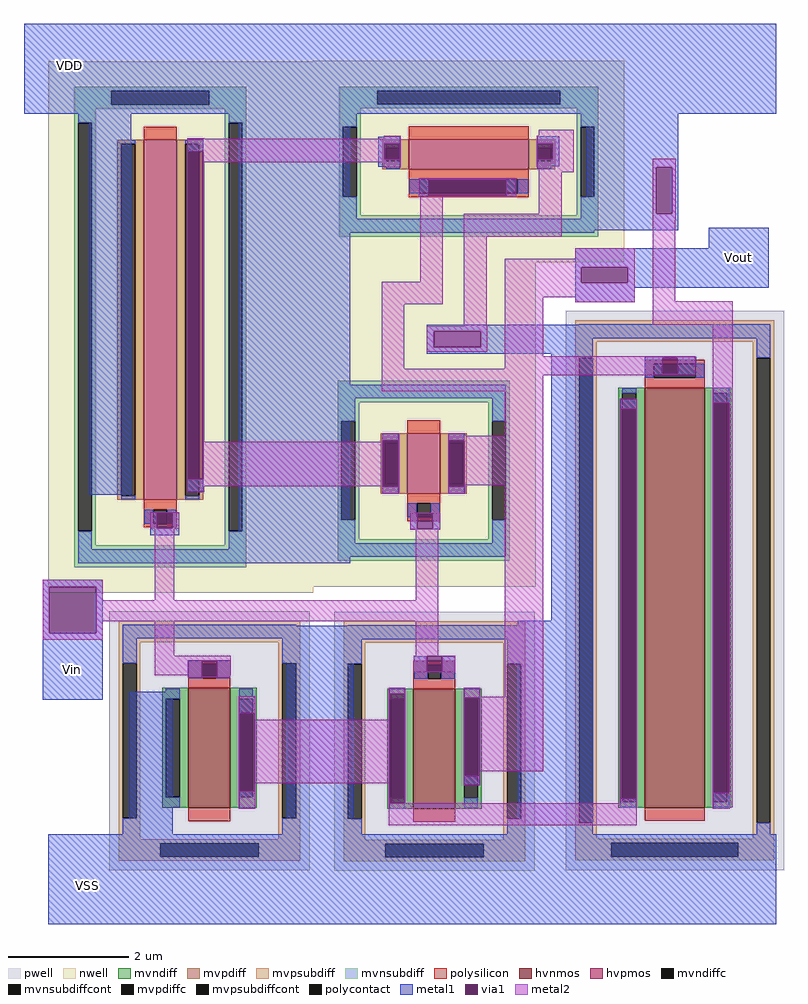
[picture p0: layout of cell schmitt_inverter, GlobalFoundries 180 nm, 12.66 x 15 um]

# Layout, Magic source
magic
tech gf180mcuD
magscale 1 10
<< nwell >>
rect 1353 -110 1490 561
rect 1353 -418 2231 -110
rect 1353 -1211 1490 -418
<< metal1 >>
rect 526 385 3034 685
rect 744 -884 883 385
rect 1072 260 1124 300
rect 1072 -872 1124 -832
rect 946 -996 969 -944
rect 1021 -996 1044 -944
rect 946 -1019 1044 -996
rect 1242 -1112 1614 385
rect 1727 309 1779 310
rect 1706 286 1779 309
rect 1706 234 1727 286
rect 1706 209 1779 234
rect 2237 286 2310 310
rect 2289 234 2310 286
rect 2237 210 2310 234
rect 2400 208 2706 385
rect 1841 165 2166 167
rect 1841 113 1873 165
rect 2133 113 2166 165
rect 1841 111 2166 113
rect 2400 52 2634 208
rect 2686 52 2706 208
rect 2400 -2 2706 52
rect 2808 -62 3008 6
rect 2364 -126 3008 -62
rect 2364 -178 2383 -126
rect 2539 -178 3008 -126
rect 2364 -194 3008 -178
rect 2364 -243 2561 -194
rect 1869 -329 2420 -317
rect 1869 -340 2421 -329
rect 1869 -392 1892 -340
rect 2048 -392 2421 -340
rect 1869 -414 2421 -392
rect 1722 -702 1774 -681
rect 1722 -879 1774 -858
rect 1942 -702 1994 -681
rect 1942 -879 1994 -858
rect 1813 -998 1837 -946
rect 1889 -998 1913 -946
rect 1813 -999 1913 -998
rect 589 -1190 789 -1168
rect 589 -1346 610 -1190
rect 766 -1346 789 -1190
rect 2284 -1304 2421 -414
rect 2595 -429 2767 -425
rect 2595 -481 2653 -429
rect 2705 -481 2767 -429
rect 2595 -484 2767 -481
rect 589 -1568 789 -1346
rect 1072 -1490 1118 -1438
rect 1170 -1490 1214 -1438
rect 877 -2015 1021 -1541
rect 1243 -1613 1297 -1559
rect 1295 -1873 1297 -1613
rect 1243 -1927 1297 -1873
rect 1401 -2015 1625 -1320
rect 1825 -1474 1868 -1422
rect 1920 -1474 1963 -1422
rect 1743 -1548 1795 -1531
rect 1993 -1560 2045 -1531
rect 1993 -1850 2045 -1820
rect 1743 -1930 1795 -1912
rect 2171 -2015 2421 -1304
rect 2514 -597 2566 -568
rect 2514 -1926 2566 -1897
rect 2824 -577 2876 -528
rect 2824 -1926 2876 -1877
rect 607 -2315 3034 -2015
<< via1 >>
rect 1072 -832 1124 260
rect 969 -996 1021 -944
rect 1727 234 1779 286
rect 2237 234 2289 286
rect 1873 113 2133 165
rect 2634 52 2686 208
rect 2383 -178 2539 -126
rect 1892 -392 2048 -340
rect 1722 -858 1774 -702
rect 1942 -858 1994 -702
rect 1837 -998 1889 -946
rect 610 -1346 766 -1190
rect 2653 -481 2705 -429
rect 1118 -1490 1170 -1438
rect 1243 -1873 1295 -1613
rect 1868 -1474 1920 -1422
rect 1743 -1912 1795 -1548
rect 1993 -1820 2045 -1560
rect 2514 -1897 2566 -597
rect 2824 -1877 2876 -577
<< metal2 >>
rect 2242 313 2359 333
rect 1070 303 1126 304
rect 1725 303 1781 313
rect 1070 286 1781 303
rect 1070 260 1727 286
rect 1070 -832 1072 260
rect 1124 234 1727 260
rect 1779 234 1781 286
rect 1124 224 1781 234
rect 1124 -707 1126 224
rect 1725 207 1781 224
rect 2235 286 2359 313
rect 2235 234 2237 286
rect 2289 234 2359 286
rect 2235 207 2359 234
rect 2242 190 2359 207
rect 2622 208 2698 236
rect 1841 165 2166 170
rect 1841 113 1873 165
rect 2133 113 2166 165
rect 1841 109 2166 113
rect 1847 -175 1921 109
rect 2242 52 2318 190
rect 1719 -249 1921 -175
rect 1992 -24 2318 52
rect 2622 52 2634 208
rect 2686 52 2698 208
rect 2622 33 2698 52
rect 1719 -465 1793 -249
rect 1992 -322 2068 -24
rect 2364 -97 2561 -62
rect 2128 -126 2561 -97
rect 2128 -178 2383 -126
rect 2539 -178 2561 -126
rect 2128 -226 2561 -178
rect 1869 -340 2070 -322
rect 1869 -392 1892 -340
rect 2048 -392 2070 -340
rect 1869 -408 2070 -392
rect 2128 -422 2257 -226
rect 2364 -243 2561 -226
rect 2622 -239 2696 33
rect 2622 -317 2889 -239
rect 2128 -429 2764 -422
rect 2128 -465 2653 -429
rect 1719 -481 2653 -465
rect 2705 -481 2764 -429
rect 1719 -486 2764 -481
rect 1719 -539 2257 -486
rect 1720 -702 1776 -680
rect 1720 -707 1722 -702
rect 1124 -832 1722 -707
rect 1070 -855 1722 -832
rect 1070 -876 1126 -855
rect 1720 -858 1722 -855
rect 1774 -858 1776 -702
rect 1720 -880 1776 -858
rect 1940 -687 1996 -680
rect 2128 -687 2257 -539
rect 1940 -702 2257 -687
rect 1940 -858 1942 -702
rect 1994 -853 2257 -702
rect 1994 -858 1996 -853
rect 1940 -880 1996 -858
rect 946 -944 1044 -942
rect 946 -996 969 -944
rect 1021 -996 1044 -944
rect 946 -998 1044 -996
rect 1813 -946 1913 -944
rect 1813 -998 1837 -946
rect 1889 -998 1913 -946
rect 589 -1190 789 -1168
rect 589 -1346 610 -1190
rect 766 -1236 789 -1190
rect 961 -1236 1026 -998
rect 1813 -1000 1913 -998
rect 1832 -1236 1907 -1000
rect 766 -1305 1907 -1236
rect 766 -1346 789 -1305
rect 589 -1368 789 -1346
rect 961 -1421 1026 -1305
rect 1832 -1420 1907 -1305
rect 961 -1438 1215 -1421
rect 961 -1486 1118 -1438
rect 1072 -1490 1118 -1486
rect 1170 -1486 1215 -1438
rect 1825 -1422 1963 -1420
rect 1825 -1474 1868 -1422
rect 1920 -1474 1963 -1422
rect 1825 -1476 1963 -1474
rect 1170 -1490 1214 -1486
rect 1072 -1492 1214 -1490
rect 1741 -1548 1797 -1527
rect 1241 -1613 1297 -1555
rect 1241 -1873 1243 -1613
rect 1295 -1634 1297 -1613
rect 1741 -1634 1743 -1548
rect 1295 -1846 1743 -1634
rect 1295 -1873 1297 -1846
rect 1241 -1931 1297 -1873
rect 1741 -1912 1743 -1846
rect 1795 -1912 1797 -1548
rect 1991 -1557 2047 -1527
rect 2128 -1557 2257 -853
rect 1991 -1560 2257 -1557
rect 1991 -1820 1993 -1560
rect 2045 -1805 2257 -1560
rect 2512 -597 2568 -564
rect 2045 -1820 2047 -1805
rect 1991 -1853 2047 -1820
rect 2512 -1897 2514 -597
rect 2566 -1897 2568 -597
rect 2512 -1912 2568 -1897
rect 1741 -1985 2568 -1912
rect 2822 -577 2889 -317
rect 2822 -1877 2824 -577
rect 2876 -1877 2889 -577
rect 2822 -1926 2889 -1877
rect 2822 -1930 2878 -1926
use nmos_6p0_BJPB5U  nmos_6p0_BJPB5U_0
transform 1 0 1894 0 1 -1706
box -334 -432 334 432
use pmos_6p0_UXEQNM  pmos_6p0_UXEQNM_0
transform 1 0 1863 0 1 -804
box -378 -386 368 386
use nmos_6p0_L3YBEV  X6
transform 1 0 2695 0 1 -1203
box -364 -932 364 932
use pmos_6p0_9YEQN4  XM1
transform 1 0 985 0 1 -325
box -378 -886 368 886
use nmos_6p0_BJPB5U  XM3
transform 1 0 1144 0 1 -1704
box -334 -432 334 432
use pmos_6p0_9859UL  XM5
transform 1 0 2008 0 1 226
box -518 -336 518 336
<< labels >>
flabel metal1 s 577 445 777 645 0 FreeSans 1600 0 0 0 VDD
port 1 nsew
flabel metal1 s 639 -2288 839 -2088 0 FreeSans 1600 0 0 0 VSS
port 2 nsew
flabel metal1 s 589 -1568 789 -1368 0 FreeSans 1600 0 0 0 Vin
port 3 nsew
flabel metal1 s 2808 -194 3008 6 0 FreeSans 1600 0 0 0 Vout
port 4 nsew
<< properties >>
string GDS_END 56978
string GDS_FILE ../gds/simple_por.gds.gz
string GDS_START 45324
<< end >>

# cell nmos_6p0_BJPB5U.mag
magic
tech gf180mcuD
magscale 1 10
<< pwell >>
rect -334 -432 334 432
<< hvnmos >>
rect -70 -224 70 176
<< mvndiff >>
rect -158 140 -70 176
rect -158 -188 -145 140
rect -99 -188 -70 140
rect -158 -224 -70 -188
rect 70 140 158 176
rect 70 -188 99 140
rect 145 -188 158 140
rect 70 -224 158 -188
<< mvndiffc >>
rect -145 -188 -99 140
rect 99 -188 145 140
<< mvpsubdiff >>
rect -302 328 302 400
rect -302 258 -230 328
rect -302 -258 -289 258
rect -243 -258 -230 258
rect 230 258 302 328
rect -302 -328 -230 -258
rect 230 -258 243 258
rect 289 -258 302 258
rect 230 -328 302 -258
rect -302 -341 302 -328
rect -302 -387 -164 -341
rect 164 -387 302 -341
rect -302 -400 302 -387
<< mvpsubdiffcont >>
rect -289 -258 -243 258
rect 243 -258 289 258
rect -164 -387 164 -341
<< polysilicon >>
rect -70 255 70 268
rect -70 209 -23 255
rect 23 209 70 255
rect -70 176 70 209
rect -70 -268 70 -224
<< polycontact >>
rect -23 209 23 255
<< metal1 >>
rect -289 341 289 387
rect -289 258 -243 341
rect 243 258 289 341
rect -68 209 -23 255
rect 23 209 68 255
rect -145 140 -99 174
rect -145 -222 -99 -188
rect 99 140 145 174
rect 99 -222 145 -188
rect -289 -341 -243 -258
rect 243 -341 289 -258
rect -289 -387 -164 -341
rect 164 -387 289 -341
<< properties >>
string FIXED_BBOX -266 -364 266 364
string GDS_END 30080
string GDS_FILE ../gds/simple_por.gds.gz
string GDS_START 26684
<< end >>

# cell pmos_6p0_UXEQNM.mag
magic
tech gf180mcuD
magscale 1 10
<< nwell >>
rect -378 -386 368 386
<< hvpmos >>
rect -60 -76 50 124
<< mvpdiff >>
rect -148 94 -60 124
rect -148 -46 -135 94
rect -89 -46 -60 94
rect -148 -76 -60 -46
rect 50 94 138 124
rect 50 -46 79 94
rect 125 -46 138 94
rect 50 -76 138 -46
<< mvpdiffc >>
rect -135 -46 -89 94
rect 79 -46 125 94
<< mvnsubdiff >>
rect -292 228 282 300
rect -292 164 -220 228
rect -292 -164 -279 164
rect -233 -164 -220 164
rect 210 164 282 228
rect -292 -228 -220 -164
rect 210 -164 223 164
rect 269 -164 282 164
rect 210 -228 282 -164
rect -292 -300 282 -228
<< mvnsubdiffcont >>
rect -279 -164 -233 164
rect 223 -164 269 164
<< polysilicon >>
rect -60 124 50 168
rect -60 -109 50 -76
rect -60 -155 -28 -109
rect 18 -155 50 -109
rect -60 -168 50 -155
<< polycontact >>
rect -28 -155 18 -109
<< metal1 >>
rect -279 241 269 287
rect -279 164 -233 241
rect 223 164 269 241
rect -135 94 -89 122
rect -135 -74 -89 -46
rect 79 94 125 122
rect 79 -74 125 -46
rect -58 -155 -28 -109
rect 18 -155 48 -109
rect -279 -241 -233 -164
rect 223 -241 269 -164
rect -279 -287 269 -241
<< properties >>
string FIXED_BBOX -246 -264 246 264
string GDS_END 26636
string GDS_FILE ../gds/simple_por.gds.gz
string GDS_START 24072
<< end >>

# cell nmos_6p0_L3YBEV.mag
magic
tech gf180mcuD
magscale 1 10
<< pwell >>
rect -364 -932 364 932
<< hvnmos >>
rect -100 -724 100 676
<< mvndiff >>
rect -188 657 -100 676
rect -188 -705 -175 657
rect -129 -705 -100 657
rect -188 -724 -100 -705
rect 100 657 188 676
rect 100 -705 129 657
rect 175 -705 188 657
rect 100 -724 188 -705
<< mvndiffc >>
rect -175 -705 -129 657
rect 129 -705 175 657
<< mvpsubdiff >>
rect -332 828 332 900
rect -332 775 -260 828
rect -332 -775 -319 775
rect -273 -775 -260 775
rect 260 775 332 828
rect -332 -828 -260 -775
rect 260 -775 273 775
rect 319 -775 332 775
rect 260 -828 332 -775
rect -332 -841 332 -828
rect -332 -887 -211 -841
rect 211 -887 332 -841
rect -332 -900 332 -887
<< mvpsubdiffcont >>
rect -319 -775 -273 775
rect 273 -775 319 775
rect -211 -887 211 -841
<< polysilicon >>
rect -100 755 100 768
rect -100 709 -70 755
rect 70 709 100 755
rect -100 676 100 709
rect -100 -768 100 -724
<< polycontact >>
rect -70 709 70 755
<< metal1 >>
rect -319 841 319 887
rect -319 775 -273 841
rect 273 775 319 841
rect -98 709 -70 755
rect 70 709 98 755
rect -175 657 -129 674
rect -175 -722 -129 -705
rect 129 657 175 674
rect 129 -722 175 -705
rect -319 -841 -273 -775
rect 273 -841 319 -775
rect -319 -887 -211 -841
rect 211 -887 319 -841
<< properties >>
string FIXED_BBOX -296 -864 296 864
string GDS_END 45276
string GDS_FILE ../gds/simple_por.gds.gz
string GDS_START 38936
<< end >>

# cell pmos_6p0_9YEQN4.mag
magic
tech gf180mcuD
magscale 1 10
<< nwell >>
rect -378 -886 368 886
<< hvpmos >>
rect -60 -576 50 624
<< mvpdiff >>
rect -148 611 -60 624
rect -148 -563 -135 611
rect -89 -563 -60 611
rect -148 -576 -60 -563
rect 50 611 138 624
rect 50 -563 79 611
rect 125 -563 138 611
rect 50 -576 138 -563
<< mvpdiffc >>
rect -135 -563 -89 611
rect 79 -563 125 611
<< mvnsubdiff >>
rect -292 787 282 800
rect -292 741 -169 787
rect 159 741 282 787
rect -292 728 282 741
rect -292 681 -220 728
rect -292 -681 -279 681
rect -233 -681 -220 681
rect 210 681 282 728
rect -292 -728 -220 -681
rect 210 -681 223 681
rect 269 -681 282 681
rect 210 -728 282 -681
rect -292 -800 282 -728
<< mvnsubdiffcont >>
rect -169 741 159 787
rect -279 -681 -233 681
rect 223 -681 269 681
<< polysilicon >>
rect -60 624 50 668
rect -60 -609 50 -576
rect -60 -655 -28 -609
rect 18 -655 50 -609
rect -60 -668 50 -655
<< polycontact >>
rect -28 -655 18 -609
<< metal1 >>
rect -279 741 -169 787
rect 159 741 269 787
rect -279 681 -233 741
rect 223 681 269 741
rect -135 611 -89 622
rect -135 -574 -89 -563
rect 79 611 125 622
rect 79 -574 125 -563
rect -58 -655 -28 -609
rect 18 -655 48 -609
rect -279 -741 -233 -681
rect 223 -741 269 -681
rect -279 -787 269 -741
<< properties >>
string FIXED_BBOX -246 -764 246 764
string GDS_END 38888
string GDS_FILE ../gds/simple_por.gds.gz
string GDS_START 33188
<< end >>

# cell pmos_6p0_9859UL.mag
magic
tech gf180mcuD
magscale 1 10
<< nwell >>
rect -518 -336 518 336
<< hvpmos >>
rect -200 -26 200 74
<< mvpdiff >>
rect -288 47 -200 74
rect -288 1 -275 47
rect -229 1 -200 47
rect -288 -26 -200 1
rect 200 47 288 74
rect 200 1 229 47
rect 275 1 288 47
rect 200 -26 288 1
<< mvpdiffc >>
rect -275 1 -229 47
rect 229 1 275 47
<< mvnsubdiff >>
rect -432 237 432 250
rect -432 191 -305 237
rect 305 191 432 237
rect -432 178 432 191
rect -432 117 -360 178
rect -432 -117 -419 117
rect -373 -117 -360 117
rect 360 117 432 178
rect -432 -178 -360 -117
rect 360 -117 373 117
rect 419 -117 432 117
rect 360 -178 432 -117
rect -432 -250 432 -178
<< mvnsubdiffcont >>
rect -305 191 305 237
rect -419 -117 -373 117
rect 373 -117 419 117
<< polysilicon >>
rect -200 74 200 118
rect -200 -59 200 -26
rect -200 -105 -164 -59
rect 164 -105 200 -59
rect -200 -118 200 -105
<< polycontact >>
rect -164 -105 164 -59
<< metal1 >>
rect -419 191 -305 237
rect 305 191 419 237
rect -419 117 -373 191
rect 373 117 419 191
rect -275 47 -229 72
rect -275 -24 -229 1
rect 229 47 275 72
rect 229 -24 275 1
rect -198 -105 -164 -59
rect 164 -105 198 -59
rect -419 -191 -373 -117
rect 373 -191 419 -117
rect -419 -237 419 -191
<< properties >>
string FIXED_BBOX -396 -214 396 214
string GDS_END 33140
string GDS_FILE ../gds/simple_por.gds.gz
string GDS_START 30128
<< end >>
